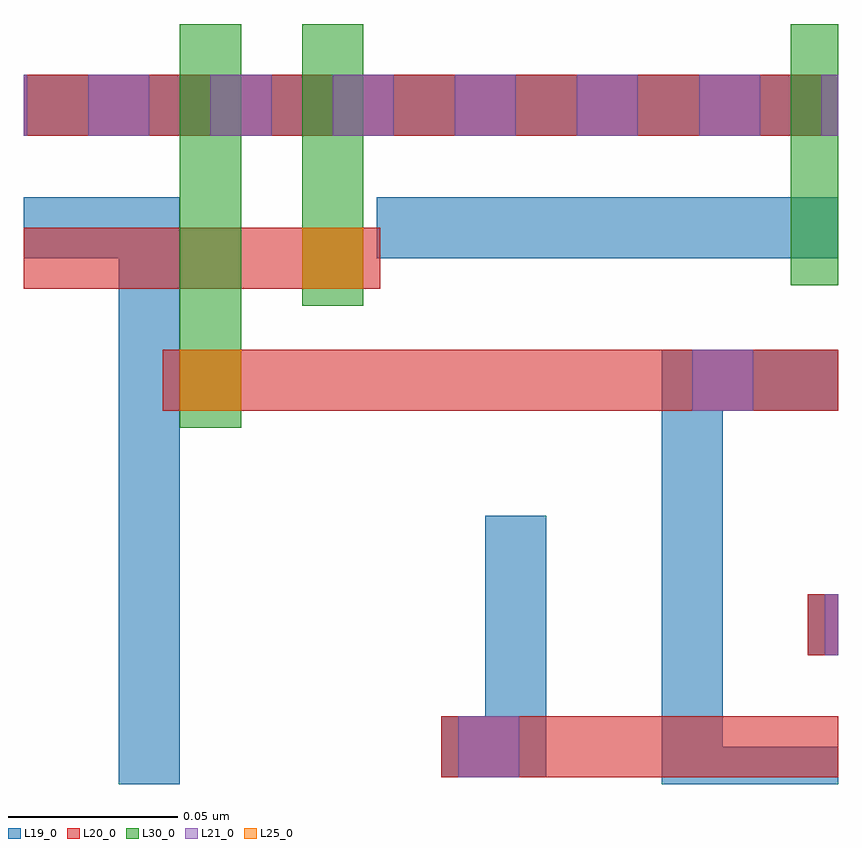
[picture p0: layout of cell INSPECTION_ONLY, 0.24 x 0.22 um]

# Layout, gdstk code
import gdstk
lib = gdstk.Library(unit=1e-6, precision=2.5e-10)
def R(c, l, rs):  # rectangles x0, y0, x1, y1
    for r in rs: c.add(gdstk.rectangle(r[:2], r[2:], *l))
def A(c, l, x, y, w, h, nx, ny, dx, dy):  # array of equal rectangles
    R(c, l, [(x+i*dx, y+j*dy, x+i*dx+w, y+j*dy+h) for i in range(nx) for j in range(ny)])
def P(c, l, *ps):  # polygons
    for p in ps: c.add(gdstk.Polygon(p, *l))
L19_0 = (19, 0)
L20_0 = (20, 0)
L21_0 = (21, 0)
L25_0 = (25, 0)
L30_0 = (30, 0)

inspection_only = lib.new_cell('INSPECTION_ONLY')
R(inspection_only, L19_0, [(2.446,1.96,2.464,2.088), (2.446,1.96,2.498,1.971), (2.381,1.962,2.412,1.98), (2.394,1.962,2.412,2.039), (2.489,1.998,2.498,2.016), (2.446,2.07,2.498,2.088), (2.362,2.115,2.498,2.133), (2.258,2.151,2.498,2.169), (2.258,2.151,2.498,2.169), (2.258,2.151,2.43,2.169), (2.258,2.151,2.322,2.169), (2.322,2.151,2.498,2.169), (2.43,2.151,2.498,2.169)])
P(inspection_only, L19_0, [(2.286,1.96),(2.286,2.115),(2.258,2.115),(2.258,2.133),(2.304,2.133),(2.304,1.96)])
R(inspection_only, L20_0, [(2.381,1.962,2.498,1.98), (2.489,1.998,2.498,2.016), (2.299,2.07,2.457,2.088), (2.45,2.07,2.498,2.088), (2.258,2.106,2.363,2.124), (2.258,2.151,2.498,2.169)])
A(inspection_only, L21_0, 2.277, 2.151, 0.018, 0.018, 6, 1, 0.036, 0)
R(inspection_only, L21_0, [(2.386,1.962,2.404,1.98), (2.494,1.998,2.498,2.016), (2.455,2.07,2.473,2.088), (2.258,2.151,2.259,2.169), (2.493,2.151,2.498,2.169)])
R(inspection_only, L25_0, [(2.304,2.07,2.322,2.088), (2.34,2.106,2.358,2.124)])
R(inspection_only, L30_0, [(2.304,2.065,2.322,2.184), (2.34,2.101,2.358,2.184), (2.484,2.107,2.498,2.184)])

lib.write_gds('INSPECTION_ONLY.gds')
